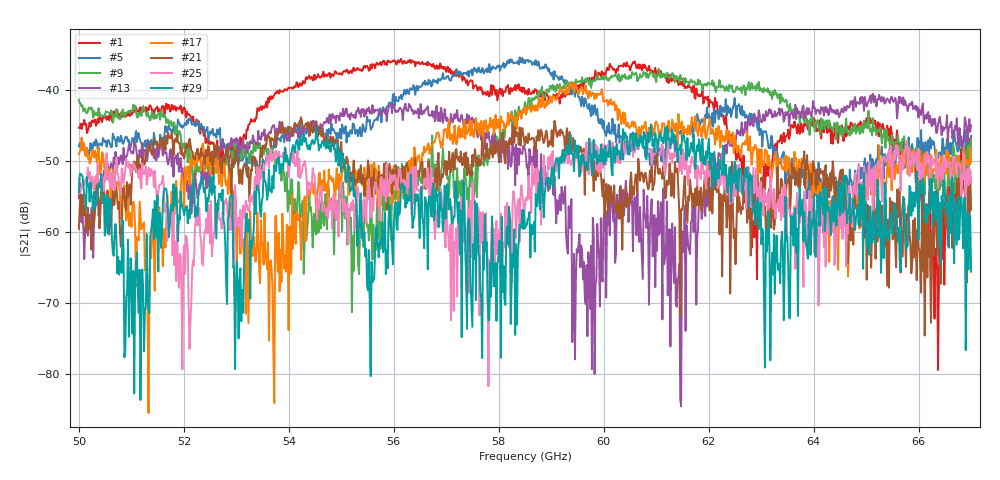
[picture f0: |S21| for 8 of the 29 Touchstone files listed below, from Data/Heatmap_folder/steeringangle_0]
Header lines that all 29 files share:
!Created with skrf (http://scikit-rf.org).
# GHz S RI R 50.0
!freq ReS11 ImS11 ReS21 ImS21 ReS12 ImS12 ReS22 ImS22
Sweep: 50 GHz to 67 GHz
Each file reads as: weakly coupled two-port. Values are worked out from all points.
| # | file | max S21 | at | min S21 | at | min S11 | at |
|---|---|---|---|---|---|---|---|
| 1 | az=-11_el=0.s2p | -35.65 dB | 56.14 GHz | -79.4 dB | 66.37 GHz | -48.6 dB | 62.16 GHz |
| 2 | az=-12_el=0.s2p | -34.80 dB | 56.87 GHz | -68.6 dB | 62.38 GHz | -54.4 dB | 62.16 GHz |
| 3 | az=-14_el=0.s2p | -35.36 dB | 63.99 GHz | -58.2 dB | 51.97 GHz | -53.2 dB | 62.16 GHz |
| 4 | az=-15_el=0.s2p | -35.63 dB | 58.87 GHz | -82.3 dB | 51.95 GHz | -50.1 dB | 62.16 GHz |
| 5 | az=-16_el=0.s2p | -35.42 dB | 58.4 GHz | -60.1 dB | 64.18 GHz | -46.7 dB | 62.16 GHz |
| 6 | az=-17_el=0.s2p | -38.94 dB | 58.31 GHz | -83.3 dB | 60.74 GHz | -48.9 dB | 62.16 GHz |
| 7 | az=-18_el=0.s2p | -39.21 dB | 66.9 GHz | -49.3 dB | 55.92 GHz | -47.6 dB | 62.16 GHz |
| 8 | az=-19_el=0.s2p | -38.92 dB | 64.4 GHz | -87.8 dB | 56.83 GHz | -42.8 dB | 62.16 GHz |
| 9 | az=-20_el=0.s2p | -37.04 dB | 61.05 GHz | -71.2 dB | 55.2 GHz | -44.8 dB | 62.16 GHz |
| 10 | az=-21_el=0.s2p | -38.44 dB | 60 GHz | -69.4 dB | 66.78 GHz | -39.8 dB | 62.16 GHz |
| 11 | az=-22_el=0.s2p | -40.59 dB | 56.94 GHz | -84.5 dB | 51.46 GHz | -41.1 dB | 62.16 GHz |
| 12 | az=-23_el=0.s2p | -41.16 dB | 57.34 GHz | -63.0 dB | 52.19 GHz | -39.1 dB | 62.16 GHz |
| 13 | az=-24_el=0.s2p | -40.55 dB | 65.13 GHz | -84.5 dB | 61.48 GHz | -38.0 dB | 62.16 GHz |
| 14 | az=-25_el=0.s2p | -40.91 dB | 64.23 GHz | -61.9 dB | 59.16 GHz | -40.4 dB | 65.4 GHz |
| 15 | az=-26_el=0.s2p | -41.71 dB | 59.38 GHz | -67.3 dB | 57.48 GHz | -38.7 dB | 65.4 GHz |
| 16 | az=-27_el=0.s2p | -39.41 dB | 59.37 GHz | -86.9 dB | 55.08 GHz | -37.5 dB | 60.76 GHz |
| 17 | az=-28_el=0.s2p | -39.01 dB | 59.42 GHz | -85.4 dB | 51.33 GHz | -38.0 dB | 60.76 GHz |
| 18 | az=-29_el=0.s2p | -38.79 dB | 59.08 GHz | -80.4 dB | 52.55 GHz | -39.5 dB | 65.4 GHz |
| 19 | az=-30_el=0.s2p | -39.58 dB | 59.27 GHz | -83.8 dB | 62.87 GHz | -37.7 dB | 60.76 GHz |
| 20 | az=-31_el=0.s2p | -42.00 dB | 59.21 GHz | -72.3 dB | 66.85 GHz | -41.6 dB | 65.4 GHz |
| 21 | az=-32_el=0.s2p | -43.85 dB | 54.23 GHz | -74.5 dB | 66.12 GHz | -39.6 dB | 65.4 GHz |
| 22 | az=-33_el=0.s2p | -45.49 dB | 52.62 GHz | -83.0 dB | 63.21 GHz | -38.8 dB | 60.76 GHz |
| 23 | az=-34_el=0.s2p | -45.37 dB | 60.69 GHz | -88.1 dB | 64.13 GHz | -38.8 dB | 60.76 GHz |
| 24 | az=-35_el=0.s2p | -46.61 dB | 60.51 GHz | -83.5 dB | 57.7 GHz | -39.5 dB | 60.76 GHz |
| 25 | az=-36_el=0.s2p | -45.95 dB | 60.78 GHz | -81.7 dB | 57.8 GHz | -39.9 dB | 65.4 GHz |
| 26 | az=-37_el=0.s2p | -46.07 dB | 61.24 GHz | -81.9 dB | 52.8 GHz | -42.0 dB | 65.4 GHz |
| 27 | az=-38_el=0.s2p | -44.90 dB | 54.23 GHz | -84.2 dB | 63.34 GHz | -37.1 dB | 60.76 GHz |
| 28 | az=-39_el=0.s2p | -44.67 dB | 61.07 GHz | -80.6 dB | 63.36 GHz | -39.8 dB | 65.4 GHz |
| 29 | az=-40_el=0.s2p | -44.87 dB | 60.9 GHz | -83.6 dB | 51.17 GHz | -42.2 dB | 59.59 GHz |
